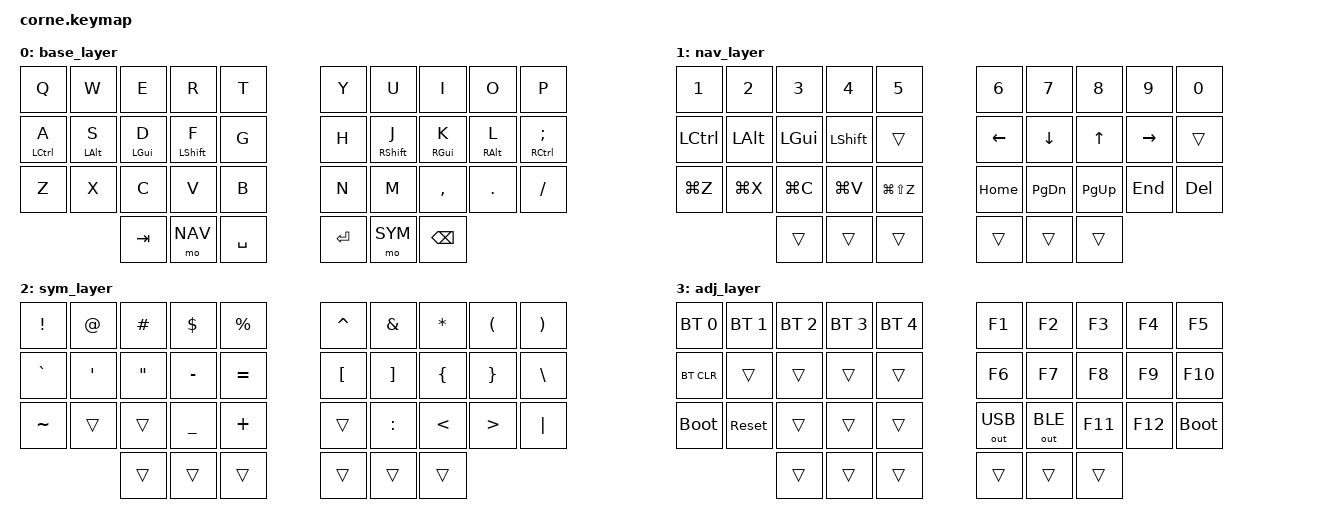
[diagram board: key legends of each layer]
/*
 * Corne 36-key (5 columns + 3 thumbs per side), macOS-oriented.
 *
 * Key positions (used by combos / hold-trigger-key-positions):
 *   0  1  2  3  4      5  6  7  8  9
 *  10 11 12 13 14     15 16 17 18 19
 *  20 21 22 23 24     25 26 27 28 29
 *           30 31 32  33 34 35
 */

#include <behaviors.dtsi>
#include <dt-bindings/zmk/keys.h>
#include <dt-bindings/zmk/bt.h>
#include <dt-bindings/zmk/outputs.h>

#define BASE 0
#define NAV  1
#define SYM  2
#define ADJ  3

#define KEYS_L 0 1 2 3 4 10 11 12 13 14 20 21 22 23 24
#define KEYS_R 5 6 7 8 9 15 16 17 18 19 25 26 27 28 29
#define THUMBS 30 31 32 33 34 35

/ {
        /* Use the 36-key physical layout instead of the 42-key default. */
        chosen {
                zmk,physical-layout = &foostan_corne_5col_layout;
        };

        /* Home row mods: hold for a modifier, tap for the letter.
         * A modifier only activates when the next key is on the other hand
         * (or a thumb), which avoids most misfires while typing fast. */
        behaviors {
                hml: home_row_mod_left {
                        compatible = "zmk,behavior-hold-tap";
                        #binding-cells = <2>;
                        flavor = "balanced";
                        tapping-term-ms = <280>;
                        quick-tap-ms = <175>;
                        require-prior-idle-ms = <150>;
                        bindings = <&kp>, <&kp>;
                        hold-trigger-key-positions = <KEYS_R THUMBS>;
                        hold-trigger-on-release;
                };
                hmr: home_row_mod_right {
                        compatible = "zmk,behavior-hold-tap";
                        #binding-cells = <2>;
                        flavor = "balanced";
                        tapping-term-ms = <280>;
                        quick-tap-ms = <175>;
                        require-prior-idle-ms = <150>;
                        bindings = <&kp>, <&kp>;
                        hold-trigger-key-positions = <KEYS_L THUMBS>;
                        hold-trigger-on-release;
                };
        };

        combos {
                compatible = "zmk,combos";
                combo_esc {
                        timeout-ms = <50>;
                        key-positions = <0 1>;   /* Q + W */
                        bindings = <&kp ESC>;
                };
        };

        /* Hold NAV + SYM together to reach the ADJ layer (Bluetooth, F-keys). */
        conditional_layers {
                compatible = "zmk,conditional-layers";
                tri_layer {
                        if-layers = <NAV SYM>;
                        then-layer = <ADJ>;
                };
        };

        keymap {
                compatible = "zmk,keymap";

                base_layer {
// -----------------------------------------------------------------
// |  Q  |  W  |  E  |  R  |  T  |   |  Y  |  U  |  I  |  O  |  P  |
// |A/CTL|S/ALT|D/CMD|F/SFT|  G  |   |  H  |J/SFT|K/CMD|L/ALT|;/CTL|
// |  Z  |  X  |  C  |  V  |  B  |   |  N  |  M  |  ,  |  .  |  /  |
//             | TAB | NAV | SPC |   | RET | SYM | BSPC|
//  Combo: Q+W = ESC
                        bindings = <
   &kp Q          &kp W          &kp E          &kp R          &kp T     &kp Y  &kp U          &kp I          &kp O          &kp P
   &hml LCTRL A   &hml LALT S    &hml LGUI D    &hml LSHFT F   &kp G     &kp H  &hmr RSHFT J   &hmr RGUI K    &hmr RALT L    &hmr RCTRL SEMI
   &kp Z          &kp X          &kp C          &kp V          &kp B     &kp N  &kp M          &kp COMMA      &kp DOT        &kp FSLH
                                 &kp TAB        &mo NAV        &kp SPACE &kp RET &mo SYM       &kp BSPC
                        >;
                };

                nav_layer {
// -----------------------------------------------------------------
// |  1  |  2  |  3  |  4  |  5  |   |  6  |  7  |  8  |  9  |  0  |
// | CTL | ALT | CMD | SFT |     |   | LFT | DWN | UP  | RGT |     |
// |UNDO | CUT |COPY |PASTE|REDO |   |HOME |PGDN |PGUP | END | DEL |
//             |     |     |     |   |     | ADJ |     |
                        bindings = <
   &kp N1         &kp N2         &kp N3         &kp N4         &kp N5         &kp N6   &kp N7    &kp N8    &kp N9    &kp N0
   &kp LCTRL      &kp LALT       &kp LGUI       &kp LSHFT      &trans         &kp LEFT &kp DOWN  &kp UP    &kp RIGHT &trans
   &kp LG(Z)      &kp LG(X)      &kp LG(C)      &kp LG(V)      &kp LG(LS(Z))  &kp HOME &kp PG_DN &kp PG_UP &kp END   &kp DEL
                                 &trans         &trans         &trans         &trans   &trans    &trans
                        >;
                };

                sym_layer {
// -----------------------------------------------------------------
// |  !  |  @  |  #  |  $  |  %  |   |  ^  |  &  |  *  |  (  |  )  |
// |  `  |  '  |  "  |  -  |  =  |   |  [  |  ]  |  {  |  }  |  \  |
// |  ~  |     |     |  _  |  +  |   |     |  :  |  <  |  >  |  |  |
//             |     | ADJ |     |   |     |     |     |
                        bindings = <
   &kp EXCL       &kp AT         &kp HASH       &kp DLLR       &kp PRCNT      &kp CARET &kp AMPS  &kp ASTRK &kp LPAR  &kp RPAR
   &kp GRAVE      &kp SQT        &kp DQT        &kp MINUS      &kp EQUAL      &kp LBKT  &kp RBKT  &kp LBRC  &kp RBRC  &kp BSLH
   &kp TILDE      &trans         &trans         &kp UNDER      &kp PLUS       &trans    &kp COLON &kp LT    &kp GT    &kp PIPE
                                 &trans         &trans         &trans         &trans    &trans    &trans
                        >;
                };

                adj_layer {
// -----------------------------------------------------------------
// | BT0 | BT1 | BT2 | BT3 | BT4 |   | F1  | F2  | F3  | F4  | F5  |
// |BTCLR|     |     |     |     |   | F6  | F7  | F8  | F9  | F10 |
// |BOOT |RESET|     |     |     |   | USB | BLE | F11 | F12 |BOOT |
//             |     | (hold NAV+SYM)  |     |     |
                        bindings = <
   &bt BT_SEL 0   &bt BT_SEL 1   &bt BT_SEL 2   &bt BT_SEL 3   &bt BT_SEL 4   &kp F1       &kp F2       &kp F3  &kp F4  &kp F5
   &bt BT_CLR     &trans         &trans         &trans         &trans         &kp F6       &kp F7       &kp F8  &kp F9  &kp F10
   &bootloader    &sys_reset     &trans         &trans         &trans         &out OUT_USB &out OUT_BLE &kp F11 &kp F12 &bootloader
                                 &trans         &trans         &trans         &trans       &trans       &trans
                        >;
                };
        };
};
